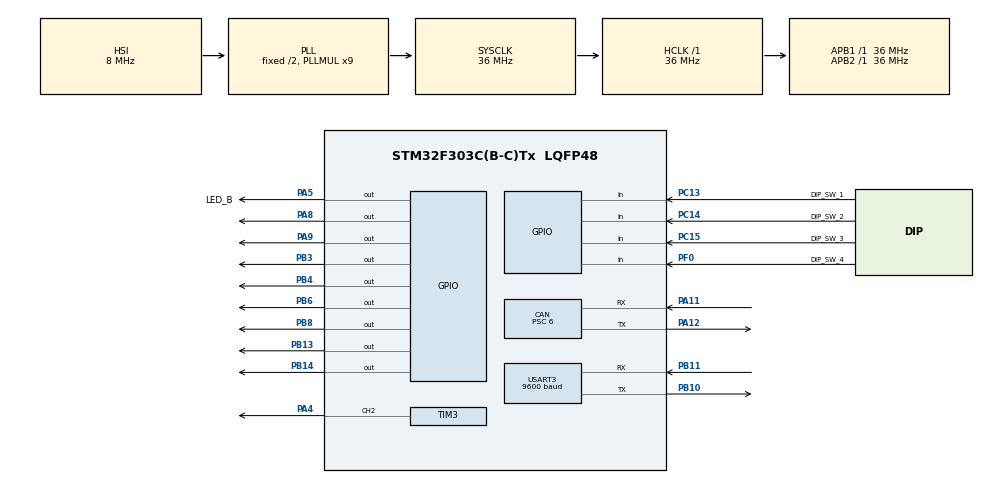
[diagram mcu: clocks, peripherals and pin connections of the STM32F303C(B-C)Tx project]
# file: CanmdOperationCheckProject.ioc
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CAN.BS1=CAN_BS1_3TQ
CAN.BS2=CAN_BS2_2TQ
CAN.CalculateTimeQuantum=166.66666666666669
CAN.Prescaler=6
Mcu.Family=STM32F3
Mcu.Name=STM32F303C(B-C)Tx
Mcu.Package=LQFP48
Mcu.UserConstants=PWM_PERIOD,100;PWM_DUTY_ZERO,0;PWM_DUTY_MAX,100
NVIC.PriorityGroup=NVIC_PRIORITYGROUP_4
NVIC.TIM1_UP_TIM16_IRQn=true\:1\:0\:true\:false\:true\:true
NVIC.TIM6_DAC_IRQn=true\:6\:0\:true\:false\:true\:true
NVIC.TIM7_IRQn=true\:2\:0\:true\:false\:true\:true
NVIC.USART3_IRQn=true\:3\:0\:true\:false\:true\:true
NVIC.USB_LP_CAN_RX0_IRQn=true\:7\:0\:true\:false\:true\:true
PA11.Mode=Master
PA11.Signal=CAN_RX
PA12.Mode=Master
PA12.Signal=CAN_TX
PA13.Mode=Serial_Wire
PA13.Signal=SYS_JTMS-SWDIO
PA14.Mode=Serial_Wire
PA14.Signal=SYS_JTCK-SWCLK
PA4.Signal=S_TIM3_CH2
PA5.GPIO_Label=LED_B
PA5.PinState=GPIO_PIN_SET
PA5.Signal=GPIO_Output
PA8.Signal=GPIO_Output
PA9.Signal=GPIO_Output
PB10.Mode=Asynchronous
PB10.Signal=USART3_TX
PB11.Mode=Asynchronous
PB11.Signal=USART3_RX
PB13.Signal=GPIO_Output
PB14.Signal=GPIO_Output
PB3.Signal=GPIO_Output
PB4.Signal=GPIO_Output
PB6.Signal=GPIO_Output
PB8.Signal=GPIO_Output
PC13.GPIO_Label=DIP_SW_1
PC13.GPIO_PuPd=GPIO_PULLUP
PC13.Signal=GPIO_Input
PC14-OSC32_IN.GPIO_Label=DIP_SW_2
PC14-OSC32_IN.GPIO_PuPd=GPIO_PULLUP
PC14-OSC32_IN.Signal=GPIO_Input
PC15-OSC32_OUT.GPIO_Label=DIP_SW_3
PC15-OSC32_OUT.GPIO_PuPd=GPIO_PULLUP
PC15-OSC32_OUT.Signal=GPIO_Input
PF0-OSC_IN.GPIO_Label=DIP_SW_4
PF0-OSC_IN.GPIO_PuPd=GPIO_PULLUP
PF0-OSC_IN.Signal=GPIO_Input
ProjectManager.HeapSize=0x200
ProjectManager.StackSize=0x400
ProjectManager.TargetToolchain=SW4STM32
RCC.AHBFreq_Value=36000000
RCC.APB1Freq_Value=36000000
RCC.APB1TimFreq_Value=36000000
RCC.APB2Freq_Value=36000000
RCC.APB2TimFreq_Value=36000000
RCC.CortexFreq_Value=36000000
RCC.FLatency=FLASH_LATENCY_1
RCC.HCLKFreq_Value=36000000
RCC.HSE_VALUE=8000000
RCC.HSI_VALUE=8000000
RCC.LSE_VALUE=32768
RCC.PLLMUL=RCC_PLL_MUL9
RCC.SYSCLKFreq_VALUE=36000000
RCC.SYSCLKSourceVirtual=RCC_SYSCLKSOURCE_PLLCLK
RCC.USBFreq_Value=36000000
SH.S_TIM3_CH2.0=TIM3_CH2,PWM Generation2 CH2
TIM16.Period=2000-1
TIM16.Prescaler=90 - 1
TIM3.Channel-PWM\ Generation2\ CH2=TIM_CHANNEL_2
TIM3.Period=PWM_PERIOD
TIM3.Prescaler=120
TIM3.Pulse-PWM\ Generation2\ CH2=PWM_DUTY_ZERO
TIM6.Period=2000-1
TIM6.Prescaler=9-1
TIM7.Period=2000-1
TIM7.Prescaler=1800-1
USART3.BaudRate=9600
USART3.VirtualMode-Asynchronous=VM_ASYNC
VP_TIM16_VS_ClockSourceINT.Mode=Enable_Timer
VP_TIM6_VS_ClockSourceINT.Mode=Enable_Timer
VP_TIM7_VS_ClockSourceINT.Mode=Enable_Timer
board=custom

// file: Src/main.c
/**
  ******************************************************************************
  * @file           : main.c
  * @brief          : Main program body
  ******************************************************************************
  ** This notice applies to any and all portions of this file
  * that are not between comment pairs USER CODE BEGIN and
  * USER CODE END. Other portions of this file, whether
  * inserted by the user or by software development tools
  * are owned by their respective copyright owners.
  *
  * COPYRIGHT(c) 2019 STMicroelectronics
  *
  * Redistribution and use in source and binary forms, with or without modification,
  * are permitted provided that the following conditions are met:
  *   1. Redistributions of source code must retain the above copyright notice,
  *      this list of conditions and the following disclaimer.
  *   2. Redistributions in binary form must reproduce the above copyright notice,
  *      this list of conditions and the following disclaimer in the documentation
  *      and/or other materials provided with the distribution.
  *   3. Neither the name of STMicroelectronics nor the names of its contributors
  *      may be used to endorse or promote products derived from this software
  *      without specific prior written permission.
  *
  * THIS SOFTWARE IS PROVIDED BY THE COPYRIGHT HOLDERS AND CONTRIBUTORS "AS IS"
  * AND ANY EXPRESS OR IMPLIED WARRANTIES, INCLUDING, BUT NOT LIMITED TO, THE
  * IMPLIED WARRANTIES OF MERCHANTABILITY AND FITNESS FOR A PARTICULAR PURPOSE ARE
  * DISCLAIMED. IN NO EVENT SHALL THE COPYRIGHT HOLDER OR CONTRIBUTORS BE LIABLE
  * FOR ANY DIRECT, INDIRECT, INCIDENTAL, SPECIAL, EXEMPLARY, OR CONSEQUENTIAL
  * DAMAGES (INCLUDING, BUT NOT LIMITED TO, PROCUREMENT OF SUBSTITUTE GOODS OR
  * SERVICES; LOSS OF USE, DATA, OR PROFITS; OR BUSINESS INTERRUPTION) HOWEVER
  * CAUSED AND ON ANY THEORY OF LIABILITY, WHETHER IN CONTRACT, STRICT LIABILITY,
  * OR TORT (INCLUDING NEGLIGENCE OR OTHERWISE) ARISING IN ANY WAY OUT OF THE USE
  * OF THIS SOFTWARE, EVEN IF ADVISED OF THE POSSIBILITY OF SUCH DAMAGE.
  *
  ******************************************************************************
  */
#include "main.h"
#include "stm32f3xx_hal.h"
#include "can.h"
#include "tim.h"
#include "usart.h"
#include "gpio.h"

/* USER CODE BEGIN Includes */
#include "ps3.h"
#include "stm32f3_easy_can.h"
#include "canmd_controller.h"
/* USER CODE END Includes */

/* USER CODE BEGIN PV */
/* Private variables ---------------------------------------------------------*/
static uint8_t uart3_buf[8];
static int encoder_count[2] = {};
/* USER CODE END PV */

void SystemClock_Config(void);

/* USER CODE BEGIN PFP */
/* Private function prototypes -----------------------------------------------*/

/* USER CODE END PFP */

int main(void)
{

  /* MCU Configuration----------------------------------------------------------*/

  /* Reset of all peripherals, Initializes the Flash interface and the Systick. */
  HAL_Init();

  /* Configure the system clock */
  SystemClock_Config();

  /* Initialize all configured peripherals */
  MX_GPIO_Init();
  MX_TIM7_Init();
  MX_USART3_UART_Init();
  MX_CAN_Init();
  MX_TIM6_Init();
  MX_TIM3_Init();
  MX_TIM16_Init();
  /* USER CODE BEGIN 2 */
  // ソフトウェアモジュール初期化
  ps3_init();
  canmd_controller_init();
  // ハードウェアモジュール初期化・スタート
  //// 通信関係
  HAL_UART_Receive_IT(&huart3, uart3_buf, 8);
  stm32f3_easy_can_init(&hcan, 0, 0);
  //// PWM
  HAL_TIM_PWM_Start(&htim3,TIM_CHANNEL_2);
  //// タイマスタート
  HAL_TIM_Base_Start_IT(&htim6);
  HAL_TIM_Base_Start_IT(&htim7);
  HAL_TIM_Base_Start_IT(&htim16);

  /* USER CODE END 2 */

  /* Infinite loop */
  /* USER CODE BEGIN WHILE */
  while (1)
  {
    canmd_controller_get_encoder_count(1, &encoder_count[0], &encoder_count[1]);

  /* USER CODE END WHILE */

  }

}

void SystemClock_Config(void)
{

  RCC_OscInitTypeDef RCC_OscInitStruct;
  RCC_ClkInitTypeDef RCC_ClkInitStruct;
  RCC_PeriphCLKInitTypeDef PeriphClkInit;

    /**Initializes the CPU, AHB and APB busses clocks
    */
  RCC_OscInitStruct.OscillatorType = RCC_OSCILLATORTYPE_HSI;
  RCC_OscInitStruct.HSIState = RCC_HSI_ON;
  RCC_OscInitStruct.HSICalibrationValue = 16;
  RCC_OscInitStruct.PLL.PLLState = RCC_PLL_ON;
  RCC_OscInitStruct.PLL.PLLSource = RCC_PLLSOURCE_HSI;
  RCC_OscInitStruct.PLL.PLLMUL = RCC_PLL_MUL9;
  if (HAL_RCC_OscConfig(&RCC_OscInitStruct) != HAL_OK)
  {
    _Error_Handler(__FILE__, __LINE__);
  }

    /**Initializes the CPU, AHB and APB busses clocks
    */
  RCC_ClkInitStruct.ClockType = RCC_CLOCKTYPE_HCLK|RCC_CLOCKTYPE_SYSCLK
                              |RCC_CLOCKTYPE_PCLK1|RCC_CLOCKTYPE_PCLK2;
  RCC_ClkInitStruct.SYSCLKSource = RCC_SYSCLKSOURCE_PLLCLK;
  RCC_ClkInitStruct.AHBCLKDivider = RCC_SYSCLK_DIV1;
  RCC_ClkInitStruct.APB1CLKDivider = RCC_HCLK_DIV1;
  RCC_ClkInitStruct.APB2CLKDivider = RCC_HCLK_DIV1;

  if (HAL_RCC_ClockConfig(&RCC_ClkInitStruct, FLASH_LATENCY_1) != HAL_OK)
  {
    _Error_Handler(__FILE__, __LINE__);
  }

  PeriphClkInit.PeriphClockSelection = RCC_PERIPHCLK_USART3;
  PeriphClkInit.Usart3ClockSelection = RCC_USART3CLKSOURCE_PCLK1;
  if (HAL_RCCEx_PeriphCLKConfig(&PeriphClkInit) != HAL_OK)
  {
    _Error_Handler(__FILE__, __LINE__);
  }

    /**Configure the Systick interrupt time
    */
  HAL_SYSTICK_Config(HAL_RCC_GetHCLKFreq()/1000);

    /**Configure the Systick
    */
  HAL_SYSTICK_CLKSourceConfig(SYSTICK_CLKSOURCE_HCLK);

  /* SysTick_IRQn interrupt configuration */
  HAL_NVIC_SetPriority(SysTick_IRQn, 0, 0);
}

/* USER CODE BEGIN 4 */
//*********************************************************
//    UART割り込み関数
//*********************************************************
void HAL_UART_RxCpltCallback(UART_HandleTypeDef *huart)
{
	if(huart->Instance == huart3.Instance) {
		ps3_uart_interrupt_routine(uart3_buf, 8);
		HAL_UART_Receive_IT(&huart3, uart3_buf, 8);
	}
}

//*********************************************************
//    CAN割り込み関数
//*********************************************************
void stm32f3_easy_can_interrupt_handler(void)
{
	int id;
	int dlc;
	unsigned char data[8];

	// 受信データ取得
	stm32f3_easy_can_get_receive_message(&id, &dlc, data);
	// canmdモジュールに受信データを渡す
	canmd_controller_set_can_receive_data(id, dlc, data);

}

//*********************************************************
//    タイマ割り込み関数
//*********************************************************
void HAL_TIM_PeriodElapsedCallback(TIM_HandleTypeDef *htim)
{
	if(htim->Instance == TIM6) {
		int motor_output[2] = {};
		Ps3 ps3_data;
		int left_stick = 0;
		int right_stick = 0;
		int id;
		int dlc;
		unsigned char data[8];

		// コントローラのデータ更新
		ps3_get_data(&ps3_data);
		// コントローラのstickの値更新(stickの値は- ～ 95の間で変化)
		if(ps3_data.left_analog_updown >= 64) {
		  left_stick = (ps3_data.left_analog_updown - 64) * 1023 / 63;
		}
		else {
		  left_stick = (ps3_data.left_analog_updown - 64) * 1023 / 64;
		}

		if(ps3_data.right_analog_updown >= 64) {
		  right_stick = (ps3_data.right_analog_updown - 64) * 1023 / 63;
		}
		else {
		  right_stick = (ps3_data.right_analog_updown - 64) * 1023 / 64;
		}

		// モーターアウトプット更新
		motor_output[0] = left_stick;
		motor_output[1] = right_stick;

		// 送信データ生成
		canmd_controller_set_motor_control_data(1, motor_output[0], motor_output[1]);
		canmd_controller_get_can_transmit_data(&id, &dlc, data);

		// CANデータ送信
		stm32f3_easy_can_transmit_message(id, dlc, data);
	}
	else if(htim->Instance == TIM7) {
		if(!ps3_time_out_check()){
			HAL_GPIO_TogglePin(LED_B_GPIO_Port, LED_B_Pin);
		}
		else {
			HAL_GPIO_WritePin(LED_B_GPIO_Port, LED_B_Pin, SET);
		}
	}
	else if(htim->Instance == TIM16) {
		static int pwm_duty = PWM_DUTY_ZERO;
		static int pwm_up_down_flag = 0;

		if(pwm_up_down_flag) {
			pwm_duty++;
		}
		else {
			pwm_duty--;
		}

		if(pwm_duty >= PWM_DUTY_MAX) {
			pwm_up_down_flag = 0;
		}
		else if(pwm_duty <= PWM_DUTY_ZERO){
			pwm_up_down_flag = 1;
		}

		TIM3->CCR2 = pwm_duty;
	}
}
/* USER CODE END 4 */

void _Error_Handler(char *file, int line)
{
  while(1)
  {
  }
}

/************************ (C) COPYRIGHT STMicroelectronics *****END OF FILE****/
